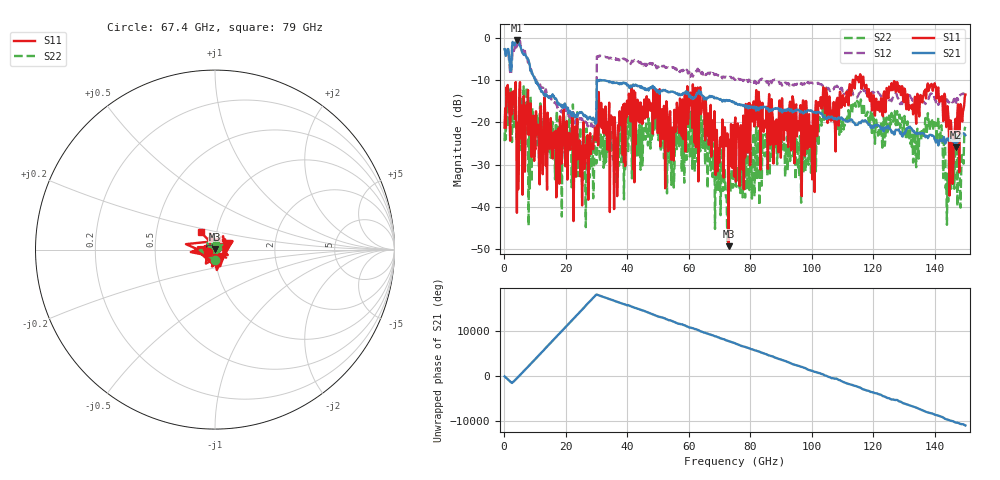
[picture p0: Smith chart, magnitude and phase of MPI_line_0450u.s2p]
!  2-Port S-parameters saved by WinCal
! VAR MeasName=S-Parameters (RAW_DATA) read from VNA (MS4647B)
! VAR MeasDate=09-Dec-21 16:08:55
! VAR NAME=L1
! VAR FILENAME=L1.S2P
! VAR DATE=09-Dec-21 16:08:55
! VAR PHYS_PORTS=1,2
! VAR ObjTypeName=DATASET
! VAR IndexType=Frequency
# Hz S RI R 50
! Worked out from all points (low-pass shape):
!   750 points, 200 MHz to 150 GHz, reference 50 ohm
!   highest |S21| = -0.66 dB at 4.2 GHz (marker M1); lowest = -25.8 dB at 146.8 GHz (marker M2)
!   |S21| within 3 dB of the highest: 775.3 MHz to 1.557 GHz (781.5 MHz wide, 67 % of centre); 2.542 GHz to 6.061 GHz (3.519 GHz wide, 81.8 % of centre)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
!   lowest |S11| = -49.2 dB at 73 GHz (marker M3), VSWR 1.01, Z = 50.1 + j0.331 ohm
!   |S11| at or under -10 dB: start of sweep to 113.4 GHz; 113.6 GHz to 114.2 GHz (677.8 MHz wide, 0.595 % of centre); 116.9 GHz to end of sweep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
!   |S22| runs from -48.4 to -11.5 dB; largest |S21 - S12| = 1.8
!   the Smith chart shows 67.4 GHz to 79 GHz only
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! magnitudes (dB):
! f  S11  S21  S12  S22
! 200 MHz  -21.2  -2.7  -2.6  -24.4
! 3.4 GHz  -12.5  -1.8  -2.7  -15.8
! 4.2 GHz  -41.4  -0.7  -1.3  -23.7
! 8 GHz  -23.0  -5.4  -5.6  -44.4
! 25.2 GHz  -25.6  -17.6  -19.3  -31.5
! 29.4 GHz  -23.2  -19.3  -20.9  -25.1
! 30.8 GHz  -12.8  -10.2  -4.5  -20.4
! 36.4 GHz  -24.2  -10.7  -5.3  -23.8
! 40.8 GHz  -15.2  -11.9  -5.9  -21.3
! 50.2 GHz  -18.4  -12.5  -6.9  -24.2
! 64.6 GHz  -16.4  -13.7  -8.4  -26.0
! 73 GHz  -49.2  -14.8  -9.3  -30.7
! 75.2 GHz  -18.8  -15.7  -9.9  -31.7
! 82.6 GHz  -20.9  -16.7  -10.3  -25.0
! 100.2 GHz  -33.5  -17.4  -10.6  -25.1
! 104.8 GHz  -12.4  -19.1  -11.8  -19.3
! 125.2 GHz  -11.6  -21.5  -14.8  -18.4
! 139.8 GHz  -11.4  -23.3  -13.8  -20.7
! 144 GHz  -18.9  -23.9  -14.5  -44.2
! 145.4 GHz  -20.6  -23.9  -15.0  -35.7
! 146.8 GHz  -19.2  -25.8  -15.9  -22.4
! 150 GHz  -13.4  -23.0  -13.8  -21.0
